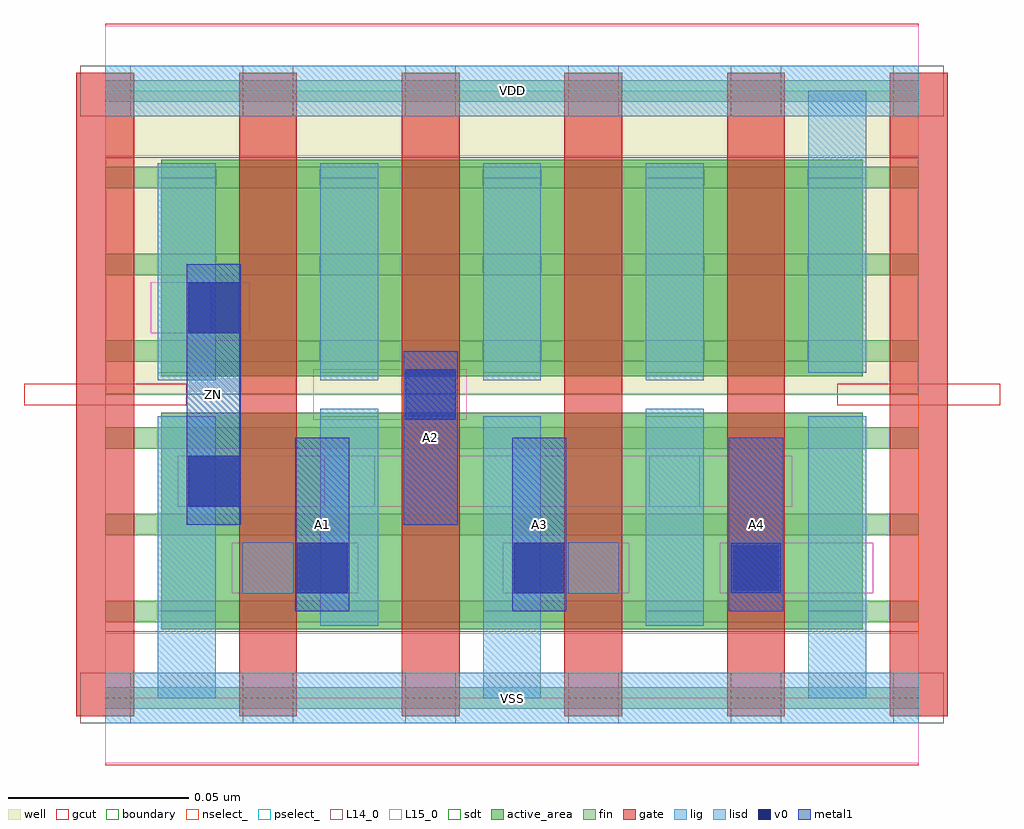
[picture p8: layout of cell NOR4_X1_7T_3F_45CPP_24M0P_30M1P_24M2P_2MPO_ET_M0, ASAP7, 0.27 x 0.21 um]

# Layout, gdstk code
import gdstk
lib = gdstk.Library(unit=1e-6, precision=2.5e-10)
def R(c, l, rs):  # rectangles x0, y0, x1, y1
    for r in rs: c.add(gdstk.rectangle(r[:2], r[2:], *l))
def A(c, l, x, y, w, h, nx, ny, dx, dy):  # array of equal rectangles
    R(c, l, [(x+i*dx, y+j*dy, x+i*dx+w, y+j*dy+h) for i in range(nx) for j in range(ny)])
well = (1, 0)
fin = (2, 0)
gate = (7, 0)
gcut = (10, 0)
active_area = (11, 0)
nselect_ = (12, 0)
pselect_ = (13, 0)
L14_0 = (14, 0)
L15_0 = (15, 0)
lig = (16, 0)
lisd = (17, 0)
v0 = (18, 0)
metal1 = (19, 0)
sdt = (88, 0)
boundary = (100, 0)

nor4_x1_7t_3f_45cpp_24m0 = lib.new_cell('NOR4_X1_7T_3F_45CPP_24M0P_30M1P_24M2P_2MPO_ET_M0')
R(nor4_x1_7t_3f_45cpp_24m0, well, [(0,0.084,0.225,0.168)])
A(nor4_x1_7t_3f_45cpp_24m0, fin, 0, -0.003, 0.225, 0.006, 1, 8, 0, 0.024)
A(nor4_x1_7t_3f_45cpp_24m0, gate, -0.008, -0.005, 0.016, 0.178, 6, 1, 0.045, 0)
R(nor4_x1_7t_3f_45cpp_24m0, gcut, [(0,-0.0185,0.225,0.0185), (-0.0225,0.081,0.0225,0.087), (0.2025,0.081,0.2475,0.087), (0,0.1495,0.225,0.1865)])
A(nor4_x1_7t_3f_45cpp_24m0, active_area, 0.0155, 0.019, 0.059, 0.06, 4, 2, 0.045, 0.07)
R(nor4_x1_7t_3f_45cpp_24m0, nselect_, [(0,0,0.225,0.084)])
R(nor4_x1_7t_3f_45cpp_24m0, pselect_, [(0,0.084,0.225,0.168)])
A(nor4_x1_7t_3f_45cpp_24m0, L14_0, -0.007, -0.007, 0.014, 0.014, 6, 2, 0.045, 0.168)
R(nor4_x1_7t_3f_45cpp_24m0, L14_0, [(0.038,0.029,0.052,0.043), (0.128,0.029,0.142,0.043), (0.173,0.029,0.187,0.043), (0.0605,0.053,0.0745,0.067), (0.1505,0.053,0.1645,0.067), (0.083,0.077,0.097,0.091), (0.0155,0.101,0.0295,0.115)])
R(nor4_x1_7t_3f_45cpp_24m0, L15_0, [(0,-0.018,0.225,0.018), (0.035,0.029,0.07,0.043), (0.11,0.029,0.145,0.043), (0.17,0.029,0.2125,0.043), (0.02,0.053,0.19,0.067), (0.0575,0.077,0.1,0.091), (0.0125,0.101,0.04,0.115), (0,0.15,0.225,0.186)])
R(nor4_x1_7t_3f_45cpp_24m0, lig, [(0,-0.007,0.225,0.007), (0.038,0.029,0.052,0.043), (0.128,0.029,0.142,0.043), (0.173,0.029,0.187,0.043), (0.083,0.077,0.097,0.091), (0,0.161,0.225,0.175)])
A(nor4_x1_7t_3f_45cpp_24m0, lisd, 0.0145, 0, 0.016, 0.078, 3, 1, 0.09, 0)
A(nor4_x1_7t_3f_45cpp_24m0, lisd, 0.0145, 0.088, 0.016, 0.06, 4, 1, 0.045, 0)
R(nor4_x1_7t_3f_45cpp_24m0, lisd, [(0.0595,0.02,0.0755,0.08), (0.1495,0.02,0.1655,0.08), (0.1945,0.09,0.2105,0.168)])
A(nor4_x1_7t_3f_45cpp_24m0, v0, 0.053, 0.029, 0.014, 0.014, 3, 1, 0.06, 0)
R(nor4_x1_7t_3f_45cpp_24m0, v0, [(0.023,0.053,0.037,0.067), (0.083,0.077,0.097,0.091), (0.023,0.101,0.037,0.115)])
A(nor4_x1_7t_3f_45cpp_24m0, metal1, 0.0525, 0.024, 0.015, 0.048, 3, 1, 0.06, 0)
R(nor4_x1_7t_3f_45cpp_24m0, metal1, [(0.0225,0.048,0.0375,0.12), (0.0825,0.048,0.0975,0.096)])
A(nor4_x1_7t_3f_45cpp_24m0, sdt, 0.0145, 0.024, 0.016, 0.054, 5, 2, 0.045, 0.066)
R(nor4_x1_7t_3f_45cpp_24m0, boundary, [(0,0,0.225,0.168)])
nor4_x1_7t_3f_45cpp_24m0.add(gdstk.Label('A4', (0.18,0.048), layer=19, texttype=251))
nor4_x1_7t_3f_45cpp_24m0.add(gdstk.Label('A3', (0.12,0.048), layer=19, texttype=251))
nor4_x1_7t_3f_45cpp_24m0.add(gdstk.Label('A2', (0.09,0.072), layer=19, texttype=251))
nor4_x1_7t_3f_45cpp_24m0.add(gdstk.Label('A1', (0.06,0.048), layer=19, texttype=251))
nor4_x1_7t_3f_45cpp_24m0.add(gdstk.Label('ZN', (0.03,0.084), layer=19, texttype=251))
nor4_x1_7t_3f_45cpp_24m0.add(gdstk.Label('VDD', (0.1125,0.168), layer=15, texttype=251))
nor4_x1_7t_3f_45cpp_24m0.add(gdstk.Label('VSS', (0.1125,0), layer=15, texttype=251))
nor4_x1_7t_3f_45cpp_24m0.add(gdstk.Label('VDD', (0.1125,0.168), layer=1, texttype=251))
nor4_x1_7t_3f_45cpp_24m0.add(gdstk.Label('VSS', (0.1125,0), layer=3, texttype=251))

lib.write_gds('NOR4_X1_7T_3F_45CPP_24M0P_30M1P_24M2P_2MPO_ET_M0.gds')
